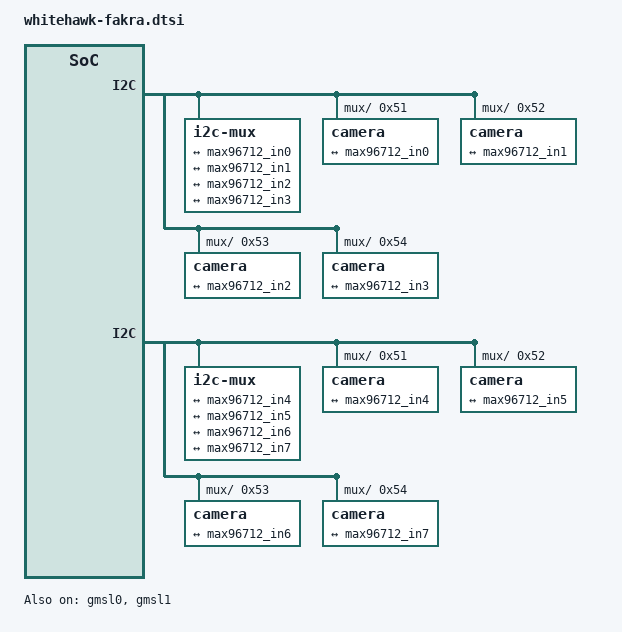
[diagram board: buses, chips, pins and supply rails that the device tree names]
// SPDX-License-Identifier: GPL-2.0+
/*
 * Device Tree Source (overlay) for the WhiteHawk V4H FAKRA connectors
 *
 * Copyright (C) 2022 Renesas Electronics Corp.
 *
 * This overlay allows you to define cameras connected to the FAKRA connectors
 * on the WhiteHawk-V4H (or compatible) board.
 *
 * Enable the cameras by specifying the camera compatible on the appropriate
 * line. Comment out the defines to disconnect the camera from the DTB.
 */

#include <dt-bindings/gpio/gpio.h>

#define FALCON_CAMERA0  "dummy,camera"
#define FALCON_CAMERA1  "dummy,camera"
#define FALCON_CAMERA2  "dummy,camera"
#define FALCON_CAMERA3  "dummy,camera"
#define FALCON_CAMERA4  "dummy,camera"
#define FALCON_CAMERA5  "dummy,camera"
#define FALCON_CAMERA6  "dummy,camera"
#define FALCON_CAMERA7  "dummy,camera"

/* Define the endpoint links */
#ifdef FALCON_CAMERA0
&max96712_in0 {
	remote-endpoint = <&fakra_con0>;
};
#endif

#ifdef FALCON_CAMERA1
&max96712_in1 {
	remote-endpoint = <&fakra_con1>;
};
#endif

#ifdef FALCON_CAMERA2
&max96712_in2 {
	remote-endpoint = <&fakra_con2>;
};
#endif

#ifdef FALCON_CAMERA3
&max96712_in3 {
	remote-endpoint = <&fakra_con3>;
};
#endif

#ifdef FALCON_CAMERA4
&max96712_in4 {
	remote-endpoint = <&fakra_con4>;
};
#endif

#ifdef FALCON_CAMERA5
&max96712_in5 {
	remote-endpoint = <&fakra_con5>;
};
#endif

#ifdef FALCON_CAMERA6
&max96712_in6 {
	remote-endpoint = <&fakra_con6>;
};
#endif

#ifdef FALCON_CAMERA7
&max96712_in7 {
	remote-endpoint = <&fakra_con7>;
};
#endif

/* Cameras are 'attached' to the GMSL I2C busses */
&gmsl0 {

#if defined(FALCON_CAMERA0) || defined(FALCON_CAMERA1) || \
    defined(FALCON_CAMERA2) || defined(FALCON_CAMERA3)
	status = "okay";

#endif

	i2c-mux {
#ifdef FALCON_CAMERA0
		i2c@0 {
			status = "okay";

			camera@51 {
				compatible = FALCON_CAMERA0;
				reg = <0x51>;

				port {
					fakra_con0: endpoint {
						remote-endpoint = <&max96712_in0>;
					};
				};
			};
		};
#endif

#ifdef FALCON_CAMERA1
		i2c@1 {
			status = "okay";

			camera@52 {
				compatible = FALCON_CAMERA1;
				reg = <0x52>;

				port {
					fakra_con1: endpoint {
						remote-endpoint = <&max96712_in1>;
					};
				};
			};
		};
#endif

#ifdef FALCON_CAMERA2
		i2c@2 {
			status = "okay";

			camera@53 {
				compatible = FALCON_CAMERA2;
				reg = <0x53>;

				port {
					fakra_con2: endpoint {
						remote-endpoint = <&max96712_in2>;
					};
				};
			};
		};
#endif

#ifdef FALCON_CAMERA3
		i2c@3 {
			status = "okay";

			camera@54 {
				compatible = FALCON_CAMERA3;
				reg = <0x54>;

				port {
					fakra_con3: endpoint {
						remote-endpoint = <&max96712_in3>;
					};
				};
			};
		};
#endif
	};
};

&gmsl1 {

#if defined(FALCON_CAMERA4) || defined(FALCON_CAMERA5) || \
    defined(FALCON_CAMERA6) || defined(FALCON_CAMERA7)
	status = "okay";

#endif

	i2c-mux {
#ifdef FALCON_CAMERA4
		i2c@0 {
			status = "okay";

			camera@51 {
				compatible = FALCON_CAMERA4;
				reg = <0x51>;

				port {
					fakra_con4: endpoint {
						remote-endpoint = <&max96712_in4>;
					};
				};
			};
		};
#endif

#ifdef FALCON_CAMERA5
		i2c@1 {
			status = "okay";

			camera@52 {
				compatible = FALCON_CAMERA5;
				reg = <0x52>;

				port {
					fakra_con5: endpoint {
						remote-endpoint = <&max96712_in5>;
					};
				};
			};
		};
#endif

#ifdef FALCON_CAMERA6
		i2c@2 {
			status = "okay";

			camera@53 {
				compatible = FALCON_CAMERA6;
				reg = <0x53>;

				port {
					fakra_con6: endpoint {
						remote-endpoint = <&max96712_in6>;
					};
				};
			};
		};
#endif

#ifdef FALCON_CAMERA7
		i2c@3 {
			status = "okay";

			camera@54 {
				compatible = FALCON_CAMERA7;
				reg = <0x54>;

				port {
					fakra_con7: endpoint {
						remote-endpoint = <&max96712_in7>;
					};
				};
			};
		};
#endif
	};
};
